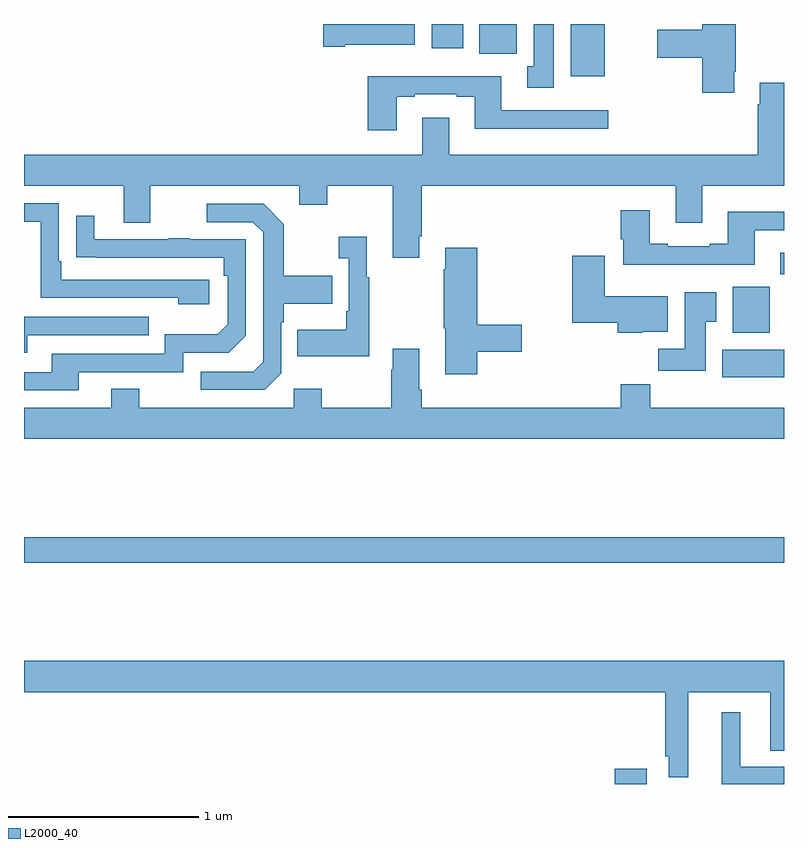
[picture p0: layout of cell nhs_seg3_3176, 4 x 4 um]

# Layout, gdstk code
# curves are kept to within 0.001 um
import gdstk
lib = gdstk.Library(unit=1e-6, precision=1e-09)
def R(c, l, rs):  # rectangles x0, y0, x1, y1
    for r in rs: c.add(gdstk.rectangle(r[:2], r[2:], *l))
def P(c, l, *ps):  # polygons
    for p in ps: c.add(gdstk.Polygon(p, *l))
L2000_40 = (2000, 40)

nhs_seg3_3176 = lib.new_cell('nhs_seg3_3176')
R(nhs_seg3_3176, L2000_40, [(278.108,732.4,278.278,732.481), (275,733.564,279,733.7), (278.675,734.54,279,734.686), (278.729,734.774,278.926,735.016), (278.981,735.083,279,735.196), (277.877,736.124,278.056,736.4), (277.397,736.244,277.594,736.4), (277.145,736.272,277.312,736.4)])
P(nhs_seg3_3176, L2000_40, [(277.789,736.4),(277.682,736.4),(277.682,736.178),(277.649,736.178),(277.649,736.065),(277.789,736.065)],
  [(278.737,736.15),(278.745,736.15),(278.745,736.4),(278.57,736.4),(278.57,736.37),(278.334,736.37),(278.334,736.223),(278.57,736.223),(278.57,736.038),(278.737,736.038)],
  [(276.688,736.292),(277.057,736.292),(277.057,736.4),(276.576,736.4),(276.576,736.28),(276.688,736.28)],
  [(276.961,736.017),(277.057,736.017),(277.057,736.029),(277.277,736.029),(277.277,736.017),(277.373,736.017),(277.373,735.848),(278.074,735.848),(278.074,735.945),(277.513,735.945),(277.513,736.126),(276.809,736.126),(276.809,735.84),(276.961,735.84)],
  [(278.429,735.354),(278.569,735.354),(278.569,735.548),(279,735.548),(279,736.09),(278.873,736.09),(278.873,735.977),(278.861,735.977),(278.861,735.712),(277.237,735.712),(277.237,735.907),(277.097,735.907),(277.097,735.712),(275,735.712),(275,735.548),(275.525,735.548),(275.525,735.354),(275.665,735.354),(275.665,735.548),(276.449,735.548),(276.449,735.449),(276.597,735.449),(276.597,735.548),(276.941,735.548),(276.941,735.171),(277.081,735.171),(277.081,735.283),(277.094,735.283),(277.094,735.548),(278.429,735.548)],
  [(275.974,735.054),(275.197,735.054),(275.197,735.151),(275.184,735.151),(275.184,735.456),(275,735.456),(275,735.36),(275.088,735.36),(275.088,734.958),(275.813,734.958),(275.813,734.924),(275.974,734.924)],
  [(276.354,734.562),(276.354,734.831),(276.367,734.831),(276.367,734.927),(276.623,734.927),(276.623,735.075),(276.367,735.075),(276.367,735.347),(276.261,735.453),(275.961,735.453),(275.961,735.357),(276.204,735.357),(276.258,735.303),(276.258,734.622),(276.207,734.571),(275.931,734.571),(275.931,734.475),(276.267,734.475)],
  [(278.845,735.315),(279,735.315),(279,735.412),(278.705,735.412),(278.705,735.244),(278.609,735.244),(278.609,735.231),(278.389,735.231),(278.389,735.244),(278.293,735.244),(278.293,735.421),(278.141,735.421),(278.141,735.268),(278.153,735.268),(278.153,735.134),(278.845,735.134)],
  [(275.287,734.568),(275.838,734.568),(275.838,734.67),(276.078,734.67),(276.168,734.76),(276.168,735.267),(275.873,735.267),(275.873,735.272),(275.761,735.272),(275.761,735.267),(275.371,735.267),(275.371,735.391),(275.275,735.391),(275.275,735.172),(276.052,735.171),(276.052,735.074),(276.072,735.074),(276.072,734.82),(276.019,734.767),(275.742,734.767),(275.742,734.664),(275.147,734.664),(275.147,734.568),(275,734.568),(275,734.472),(275.287,734.472)],
  [(276.817,735.067),(276.805,735.067),(276.805,735.28),(276.657,735.28),(276.657,735.167),(276.708,735.167),(276.708,734.887),(276.696,734.887),(276.696,734.791),(276.439,734.791),(276.439,734.651),(276.817,734.651)],
  [(277.385,734.674),(277.621,734.674),(277.621,734.816),(277.385,734.816),(277.385,735.223),(277.217,735.223),(277.217,735.11),(277.21,735.11),(277.21,734.799),(277.217,734.799),(277.217,734.556),(277.385,734.556)],
  [(278.256,734.78),(278.389,734.78),(278.389,734.968),(278.056,734.968),(278.056,735.181),(277.886,735.181),(277.886,734.828),(278.126,734.828),(278.126,734.774),(278.256,734.774)],
  [(278.587,734.833),(278.644,734.833),(278.644,734.989),(278.477,734.989),(278.477,734.692),(278.338,734.692),(278.338,734.574),(278.587,734.574)],
  [(275.017,734.763),(275.657,734.763),(275.657,734.859),(275,734.859),(275,734.669),(275.017,734.669)],
  [(279,734.38),(278.297,734.38),(278.297,734.504),(278.141,734.504),(278.141,734.38),(277.094,734.38),(277.094,734.476),(277.081,734.476),(277.081,734.692),(276.941,734.692),(276.941,734.579),(276.934,734.579),(276.934,734.38),(276.567,734.38),(276.567,734.479),(276.42,734.479),(276.42,734.38),(275.607,734.38),(275.607,734.479),(275.459,734.479),(275.459,734.38),(275,734.38),(275,734.216),(279,734.216)],
  [(278.497,732.884),(278.927,732.884),(278.927,732.575),(279,732.575),(279,733.048),(275,733.048),(275,732.884),(278.376,732.884),(278.376,732.547),(278.393,732.547),(278.393,732.435),(278.497,732.435)],
  [(279,732.49),(278.77,732.49),(278.77,732.778),(278.672,732.778),(278.672,732.4),(279,732.4)])

lib.write_gds('nhs_seg3_3176.gds')
